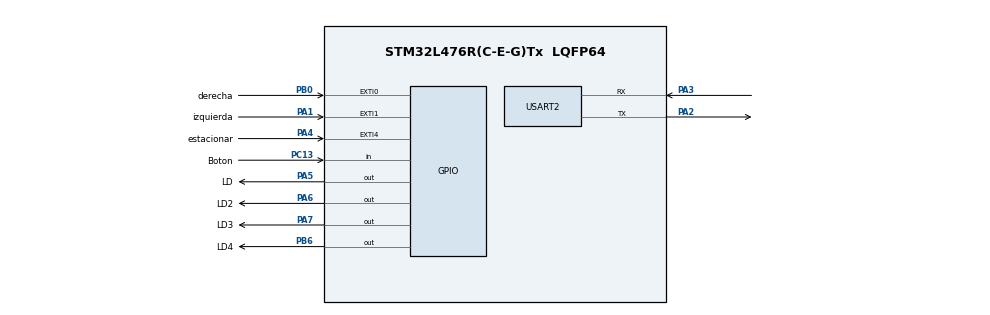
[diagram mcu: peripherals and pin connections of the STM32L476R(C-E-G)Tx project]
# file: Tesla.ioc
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Mcu.Family=STM32L4
Mcu.Name=STM32L476R(C-E-G)Tx
Mcu.Package=LQFP64
NVIC.EXTI0_IRQn=true\:0\:0\:false\:false\:true\:true\:true\:true
NVIC.EXTI1_IRQn=true\:0\:0\:false\:false\:true\:true\:true\:true
NVIC.EXTI4_IRQn=true\:0\:0\:false\:false\:true\:true\:true\:true
NVIC.PriorityGroup=NVIC_PRIORITYGROUP_4
PA1.GPIO_Label=izquierda
PA1.Signal=GPXTI1
PA2.Mode=Asynchronous
PA2.Signal=USART2_TX
PA3.Mode=Asynchronous
PA3.Signal=USART2_RX
PA4.GPIO_Label=estacionar
PA4.Signal=GPXTI4
PA5.GPIO_Label=LD
PA5.PinState=GPIO_PIN_SET
PA5.Signal=GPIO_Output
PA6.GPIO_Label=LD2
PA6.PinState=GPIO_PIN_SET
PA6.Signal=GPIO_Output
PA7.GPIO_Label=LD3
PA7.PinState=GPIO_PIN_SET
PA7.Signal=GPIO_Output
PB0.GPIO_Label=derecha
PB0.Signal=GPXTI0
PB6.GPIO_Label=LD4
PB6.PinState=GPIO_PIN_SET
PB6.Signal=GPIO_Output
PC13.GPIO_Label=Boton
PC13.Signal=GPIO_Input
ProjectManager.HeapSize=0x200
ProjectManager.StackSize=0x400
ProjectManager.TargetToolchain=STM32CubeIDE
RCC.HSE_VALUE=8000000
RCC.HSI_VALUE=16000000
RCC.LSE_VALUE=32768
RCC.MSI_VALUE=4000000
RCC.VCOOutputFreq_Value=32000000
USART2.VirtualMode-Asynchronous=VM_ASYNC
board=custom

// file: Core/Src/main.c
/* USER CODE BEGIN Header */
/**
  ******************************************************************************
  * @file           : main.c
  * @brief          : Main program body
  ******************************************************************************
  * @attention
  *
  * Copyright (c) 2024 STMicroelectronics.
  * All rights reserved.
  *
  * This software is licensed under terms that can be found in the LICENSE file
  * in the root directory of this software component.
  * If no LICENSE file comes with this software, it is provided AS-IS.
  *
  ******************************************************************************
  */
/* USER CODE END Header */
#include "main.h"

UART_HandleTypeDef huart2;

void SystemClock_Config(void);
static void MX_GPIO_Init(void);
static void MX_USART2_UART_Init(void);
/* USER CODE BEGIN PFP */
uint32_t tiempo_parpadeo=500;
uint8_t estacionando =0;
uint8_t estado=0;
uint32_t tiempo=HAL_GetTick;
uint8_t contador=0;

void HAL_GPIO_EXTI_Callback(uint16_t GPIO_Pin)
{
	  /* EXTI line interrupt detected */
	 if(GPIO_Pin==izquierda_Pin)
	  {HAL_UART_Transmit(&huart2, "d_izquierda\r\n", 13, 10);
	  HAL_GPIO_WritePin(GPIOA, LD3_Pin, 0);
	  HAL_GPIO_EXTI_IRQHandler(estacionar_Pin);
	  estado=1;
	  contador =5;
	 }

	 if(GPIO_Pin==derecha_Pin)
	   {HAL_UART_Transmit(&huart2, "d_derecha\r\n", 11, 10);
	   HAL_GPIO_EXTI_IRQHandler(estacionar_Pin);
	   HAL_GPIO_WritePin(GPIOB, LD4_Pin, 0);
	   estado=2;
	     contador =5;
	   }
	 if(GPIO_Pin==estacionar_Pin)
		 {HAL_UART_Transmit(&huart2, "Estacionar\r\n", 14, 10);
		 	estacionando=!estacionando;
		    contador =0xFFFFFF;

		 	HAL_GPIO_EXTI_IRQHandler(estacionar_Pin);
			HAL_GPIO_WritePin(GPIOB, LD4_Pin, 1);
		 	HAL_GPIO_WritePin(GPIOA, LD3_Pin, 1);

		  }

	 //filtro para evitar los rebotes que presenta el boton

	if (GPIO_Pin == izquierda_Pin) {

		if ((HAL_GetTick() < (tiempo + 500))&&(HAL_GetTick() > (tiempo + 150))) { // if last press was in the last 300ms
			contador = 0xFFFFFF; // a long time toggling (infinite)
		} else {
			contador = 5;
		}
		tiempo = HAL_GetTick();
	} if (GPIO_Pin == derecha_Pin) {
		if ((HAL_GetTick() < (tiempo + 500))&&(HAL_GetTick() > (tiempo + 150))) { // if last press was in the last 300ms
			contador = 0xFFFFFF; // a long time toggling (infinite)
		} else {
			contador = 5;
		}
		tiempo = HAL_GetTick();

	}

	if (GPIO_Pin ==estacionar_Pin) {

				if ((HAL_GetTick() > (tiempo + 200))) { // if last press was in the last 300ms
					estacionando=!estacionando; // a long time toggling (infinite)
				} else {
					estacionando = estacionando;
				}tiempo = HAL_GetTick();
	}
}
void heartbeat(void)
{
	static uint32_t heartbeat_tick = 0;
	if (heartbeat_tick < HAL_GetTick()) {
		heartbeat_tick = HAL_GetTick() + 500;
		HAL_GPIO_TogglePin(GPIOA, LD_Pin);
	}
}

/* USER CODE END PFP */

int main(void)
{

  /* MCU Configuration--------------------------------------------------------*/

  /* Reset of all peripherals, Initializes the Flash interface and the Systick. */
  HAL_Init();

  /* Configure the system clock */
  SystemClock_Config();

  /* Initialize all configured peripherals */
  MX_GPIO_Init();
  MX_USART2_UART_Init();

  /* Infinite loop */
  while (1)
   {
 	 heartbeat();
     /* USER CODE BEGIN 3 */

 	 if (estacionando==1){
 	 	   if((HAL_GetTick()-tiempo)>tiempo_parpadeo){
 	 		HAL_GPIO_TogglePin(GPIOA, LD3_Pin);
 	 	   	HAL_GPIO_TogglePin(GPIOB, LD4_Pin);
 	 	   	tiempo=HAL_GetTick();
 	 	    contador--;
 	 	   }

 	 	    if ((estado==1||estado==2)){
 	 	   			estado=0;
 	 	   			estacionando=0;
 	 	   			HAL_GPIO_WritePin(GPIOB, LD4_Pin, 1);
 	 	   			HAL_GPIO_WritePin(GPIOA, LD3_Pin, 1);
 	 	   	}
 	 	   }

 	  if (estado==2){
 	   		if((HAL_GetTick()-tiempo)>tiempo_parpadeo){
 	   			HAL_GPIO_WritePin(GPIOA, LD3_Pin, 1);

 	   			HAL_GPIO_TogglePin(GPIOB, LD4_Pin);
 	   			tiempo=HAL_GetTick();
 	   			contador--;
 	   			if ((contador==0)){
 	   				estado=0;
 	   			 HAL_GPIO_WritePin(GPIOB, LD4_Pin, 1);

 	   			}

 	   		}
 	   		}

 	if (estado==1){
 		if((HAL_GetTick()-tiempo)>tiempo_parpadeo){
 			HAL_GPIO_WritePin(GPIOB, LD4_Pin, 1);
 			HAL_GPIO_TogglePin(GPIOA, LD3_Pin);
 			tiempo=HAL_GetTick();
 			contador--;
 			if ((contador==0)){
 				estado=0;
 				  HAL_GPIO_WritePin(GPIOA, LD3_Pin, 1);

 			}

 		 }
 	   }
   	 }
 }

void SystemClock_Config(void)
{
  RCC_OscInitTypeDef RCC_OscInitStruct = {0};
  RCC_ClkInitTypeDef RCC_ClkInitStruct = {0};

  /** Configure the main internal regulator output voltage
  */
  if (HAL_PWREx_ControlVoltageScaling(PWR_REGULATOR_VOLTAGE_SCALE1) != HAL_OK)
  {
    Error_Handler();
  }

  /** Initializes the RCC Oscillators according to the specified parameters
  * in the RCC_OscInitTypeDef structure.
  */
  RCC_OscInitStruct.OscillatorType = RCC_OSCILLATORTYPE_MSI;
  RCC_OscInitStruct.MSIState = RCC_MSI_ON;
  RCC_OscInitStruct.MSICalibrationValue = 0;
  RCC_OscInitStruct.MSIClockRange = RCC_MSIRANGE_6;
  RCC_OscInitStruct.PLL.PLLState = RCC_PLL_NONE;
  if (HAL_RCC_OscConfig(&RCC_OscInitStruct) != HAL_OK)
  {
    Error_Handler();
  }

  /** Initializes the CPU, AHB and APB buses clocks
  */
  RCC_ClkInitStruct.ClockType = RCC_CLOCKTYPE_HCLK|RCC_CLOCKTYPE_SYSCLK
                              |RCC_CLOCKTYPE_PCLK1|RCC_CLOCKTYPE_PCLK2;
  RCC_ClkInitStruct.SYSCLKSource = RCC_SYSCLKSOURCE_MSI;
  RCC_ClkInitStruct.AHBCLKDivider = RCC_SYSCLK_DIV1;
  RCC_ClkInitStruct.APB1CLKDivider = RCC_HCLK_DIV1;
  RCC_ClkInitStruct.APB2CLKDivider = RCC_HCLK_DIV1;

  if (HAL_RCC_ClockConfig(&RCC_ClkInitStruct, FLASH_LATENCY_0) != HAL_OK)
  {
    Error_Handler();
  }
}

static void MX_USART2_UART_Init(void)
{

  huart2.Instance = USART2;
  huart2.Init.BaudRate = 115200;
  huart2.Init.WordLength = UART_WORDLENGTH_8B;
  huart2.Init.StopBits = UART_STOPBITS_1;
  huart2.Init.Parity = UART_PARITY_NONE;
  huart2.Init.Mode = UART_MODE_TX_RX;
  huart2.Init.HwFlowCtl = UART_HWCONTROL_NONE;
  huart2.Init.OverSampling = UART_OVERSAMPLING_16;
  huart2.Init.OneBitSampling = UART_ONE_BIT_SAMPLE_DISABLE;
  huart2.AdvancedInit.AdvFeatureInit = UART_ADVFEATURE_NO_INIT;
  if (HAL_UART_Init(&huart2) != HAL_OK)
  {
    Error_Handler();
  }

}

static void MX_GPIO_Init(void)
{
  GPIO_InitTypeDef GPIO_InitStruct = {0};

  /* GPIO Ports Clock Enable */
  __HAL_RCC_GPIOC_CLK_ENABLE();
  __HAL_RCC_GPIOA_CLK_ENABLE();
  __HAL_RCC_GPIOB_CLK_ENABLE();

  /*Configure GPIO pin Output Level */
  HAL_GPIO_WritePin(GPIOA, LD_Pin|LD2_Pin|LD3_Pin, GPIO_PIN_SET);

  /*Configure GPIO pin Output Level */
  HAL_GPIO_WritePin(LD4_GPIO_Port, LD4_Pin, GPIO_PIN_SET);

  /*Configure GPIO pin : Boton_Pin */
  GPIO_InitStruct.Pin = Boton_Pin;
  GPIO_InitStruct.Mode = GPIO_MODE_INPUT;
  GPIO_InitStruct.Pull = GPIO_NOPULL;
  HAL_GPIO_Init(Boton_GPIO_Port, &GPIO_InitStruct);

  /*Configure GPIO pins : izquierda_Pin estacionar_Pin */
  GPIO_InitStruct.Pin = izquierda_Pin|estacionar_Pin;
  GPIO_InitStruct.Mode = GPIO_MODE_IT_RISING;
  GPIO_InitStruct.Pull = GPIO_NOPULL;
  HAL_GPIO_Init(GPIOA, &GPIO_InitStruct);

  /*Configure GPIO pins : LD_Pin LD2_Pin LD3_Pin */
  GPIO_InitStruct.Pin = LD_Pin|LD2_Pin|LD3_Pin;
  GPIO_InitStruct.Mode = GPIO_MODE_OUTPUT_PP;
  GPIO_InitStruct.Pull = GPIO_NOPULL;
  GPIO_InitStruct.Speed = GPIO_SPEED_FREQ_LOW;
  HAL_GPIO_Init(GPIOA, &GPIO_InitStruct);

  /*Configure GPIO pin : derecha_Pin */
  GPIO_InitStruct.Pin = derecha_Pin;
  GPIO_InitStruct.Mode = GPIO_MODE_IT_RISING;
  GPIO_InitStruct.Pull = GPIO_NOPULL;
  HAL_GPIO_Init(derecha_GPIO_Port, &GPIO_InitStruct);

  /*Configure GPIO pin : LD4_Pin */
  GPIO_InitStruct.Pin = LD4_Pin;
  GPIO_InitStruct.Mode = GPIO_MODE_OUTPUT_PP;
  GPIO_InitStruct.Pull = GPIO_NOPULL;
  GPIO_InitStruct.Speed = GPIO_SPEED_FREQ_LOW;
  HAL_GPIO_Init(LD4_GPIO_Port, &GPIO_InitStruct);

  /* EXTI interrupt init*/
  HAL_NVIC_SetPriority(EXTI0_IRQn, 0, 0);
  HAL_NVIC_EnableIRQ(EXTI0_IRQn);

  HAL_NVIC_SetPriority(EXTI1_IRQn, 0, 0);
  HAL_NVIC_EnableIRQ(EXTI1_IRQn);

  HAL_NVIC_SetPriority(EXTI4_IRQn, 0, 0);
  HAL_NVIC_EnableIRQ(EXTI4_IRQn);

}

void Error_Handler(void)
{
  __disable_irq();
  while (1)
  {
  }
}
